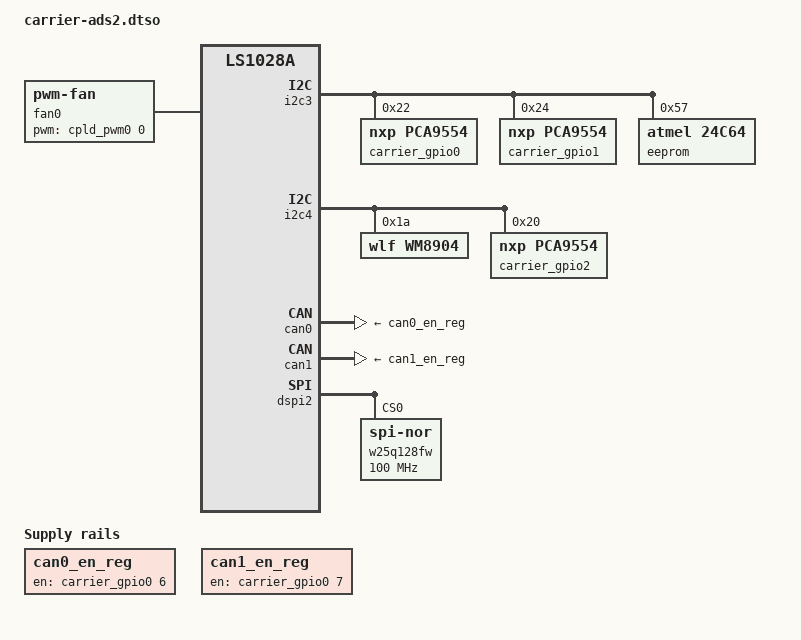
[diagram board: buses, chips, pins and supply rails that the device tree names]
/*
 * Device Tree Include file for Kontron SMARC-sAL28.
 */

/dts-v1/;
/plugin/;

/ {
	compatible = "kontron,sl28", "fsl,ls1028a";

	fragment@0 {
		target-path = "/";
		__overlay__ {
			can0_en_reg: can0-regulator {
				compatible = "regulator-fixed";
				regulator-name = "can0_en";
				gpio = <&carrier_gpio0 6 0>;
				enable-active-high;
			};

			can1_en_reg: can1-regulator {
				compatible = "regulator-fixed";
				regulator-name = "can1_en";
				gpio = <&carrier_gpio0 7 0>;
				enable-active-high;
			};

			sound {
				compatible = "fsl,imx-audio-wm8904";
				model = "imx-wm8904";
				sai-controllers = <&sai6 &sai5>;
				audio-codec = <&wm8904>;
				audio-routing =
					"Line Out Jack", "LINEOUTR",
					"Line Out Jack", "LINEOUTL",
					"Headphone Jack", "HPOUTR",
					"Headphone Jack", "HPOUTL",
					"IN1L", "Line In Jack",
					"IN1R", "Line In Jack",
					"Mic Jack", "MICBIAS",
					"IN2L", "Mic Jack",
					"IN2R", "Mic Jack";
			};

			fan0: pwm-fan {
					compatible = "pwm-fan";
					cooling-min-state = <0>;
					cooling-max-state = <3>;
					#cooling-cells = <2>;
					pwms = <&cpld_pwm0 0 4000000>;
					cooling-levels = <1 128 192 255>;
			};
		};
	};

	fragment@1 {
		target = <&soc>;

		__overlay__ {
			#address-cells = <2>;
			#size-cells = <2>;

			wm8904_mclk: wm8904-mclk@f130080 {
				compatible = "fsl,vf610-sai-clock";
				reg = <0x0 0xf130080 0x0 0x80>;
				clocks = <&clockgen 4 1>;
				#clock-cells = <0>;
			};
		};
	};

	fragment@2 {
		target = <&i2c3>;

		__overlay__ {
			#address-cells = <1>;
			#size-cells = <0>;

			carrier_gpio0: tca9554@22 {
				compatible = "nxp,pca9554";
				reg = <0x22>;
				gpio-controller;
				#gpio-cells = <2>;
				status = "okay";
			};

			carrier_gpio1: tca9554@24 {
				compatible = "nxp,pca9554";
				reg = <0x24>;
				gpio-controller;
				#gpio-cells = <2>;
				status = "okay";
			};

			eeprom@57 {
				compatible = "atmel,24c64";
				reg = <0x57>;
			};
		};
	};

	fragment@3 {
		target = <&i2c4>;

		__overlay__ {
			#address-cells = <1>;
			#size-cells = <0>;

			wm8904: wm8904@1a {
				compatible = "wlf,wm8904";
				reg = <0x1a>;
				clocks = <&wm8904_mclk>;
				clock-names = "mclk";
				assigned-clocks = <&wm8904_mclk>;
				assigned-clock-rates = <1250000>;
			};

			carrier_gpio2: tca9554@20 {
				compatible = "nxp,pca9554";
				reg = <0x20>;
				gpio-controller;
				#gpio-cells = <2>;
				status = "okay";
			};
		};
	};

	fragment@4 {
		target = <&can0>;
		__overlay__ {
			status = "okay";
			xceiver-supply = <&can0_en_reg>;
		};
	};

	fragment@5 {
		target = <&can1>;
		__overlay__ {
			xceiver-supply = <&can1_en_reg>;
		};
	};

	fragment@6 {
		target = <&soc>;
		__overlay__ {
			thermal-zones {
				core-cluster {
					trips {
						cpu_alert0: cpu-alert0 {
							temperature = <55000>;
							hysteresis = <2000>;
							type = "active";
						};

						cpu_alert1: cpu-alert1 {
							temperature = <65000>;
							hysteresis = <2000>;
							type = "active";
						};

						cpu_alert2: cpu-alert2 {
							temperature = <75000>;
							hysteresis = <2000>;
							type = "active";
						};
					};
					cooling-maps {
						map1 {
							trip = <&cpu_alert0>;
							cooling-device = <&fan0 0 1>;
						};
						map2 {
							trip = <&cpu_alert1>;
							cooling-device = <&fan0 1 2>;
						};
						map3 {
							trip = <&cpu_alert2>;
							cooling-device = <&fan0 2 3>;
						};
					};
				};
			};
		};
	};

	fragment@7 {
		target = <&dspi2>;
		__overlay__ {
			#address-cells = <1>;
			#size-cells = <0>;
			status = "okay";
			bus-num = <3>;
			w25q128fw@0 {
				#address-cells = <1>;
				#size-cells = <1>;
				compatible = "jedec,spi-nor";
				m25p,fast-read;
				spi-max-frequency = <100000000>;
				reg = <0>;
			};
		};
	};
};
